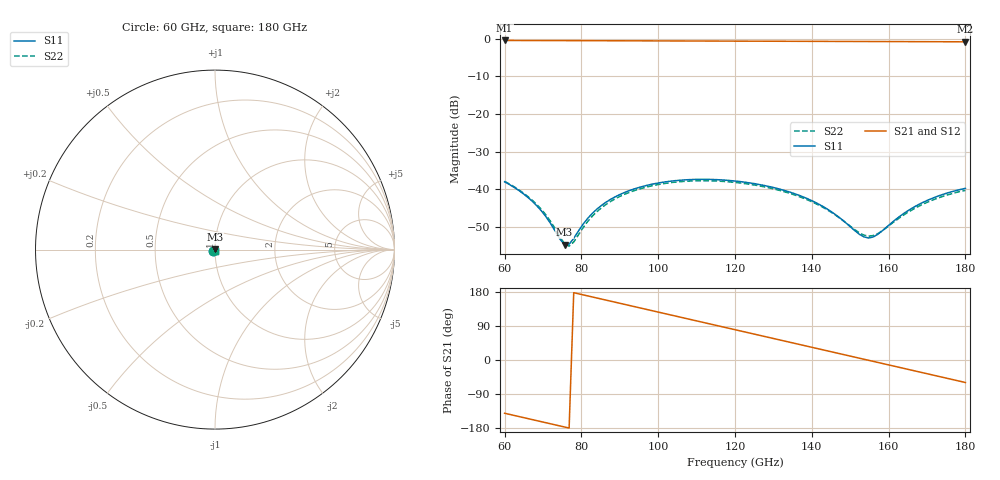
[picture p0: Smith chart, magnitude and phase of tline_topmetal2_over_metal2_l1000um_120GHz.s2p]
#  GHZ S DB R 50
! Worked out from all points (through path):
!   101 points, 60 GHz to 180 GHz, reference 50 ohm
!   highest |S21| = -0.47 dB at 60 GHz (marker M1); lowest = -0.8 dB at 180 GHz (marker M2)
!   group delay of S21, straight-line fit = 6.45 ps
!   lowest |S11| = -54.7 dB at 75.6 GHz (marker M3), VSWR 1.00, Z = 50 + j0.182 ohm
!   |S11| at or under -10 dB: start of sweep to end of sweep
!   |S22| runs from -55.1 to -37.8 dB; largest |S21 - S12| = 1.1e-14
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60  -38.04 -149.8  -0.47 -140.5  -0.47 -140.5  -37.93 -149.8
64.8  -41.15 -166.7  -0.49 -151.7  -0.49 -151.7  -40.96 -166.3
68.4  -44.42 177.9  -0.50 -160.1  -0.50 -160.1  -44.09 178.7
72  -49.15 154.3  -0.51 -168.4  -0.51 -168.4  -48.60 156.9
75.6  -54.75 96.7  -0.52 -176.8  -0.52 -176.8  -54.53 106.5
76.8  -54.62 66.9  -0.52 -179.6  -0.52 -179.6  -55.14 76.9
78  -53.08 42.5  -0.53 177.6  -0.53 177.6  -54.05 49.5
80.4  -49.36 13.6  -0.53 172.0  -0.53 172.0  -50.29 16.1
84  -45.33 -9.0  -0.54 163.7  -0.54 163.7  -46.01 -8.5
88.8  -42.03 -28.8  -0.56 152.5  -0.56 152.5  -42.56 -29.0
93.6  -39.98 -45.2  -0.57 141.3  -0.57 141.3  -40.44 -45.7
100.8  -38.22 -67.7  -0.59 124.6  -0.59 124.6  -38.62 -68.5
110.4  -37.39 -96.2  -0.62 102.3  -0.62 102.3  -37.77 -97.4
120  -37.83 -124.3  -0.65 80.0  -0.65 80.0  -38.20 -125.9
129.6  -39.46 -152.9  -0.68 57.7  -0.68 57.7  -39.82 -155.1
140.4  -43.25 170.6  -0.71 32.6  -0.71 32.6  -43.53 167.5
147.6  -47.88 135.9  -0.73 15.9  -0.73 15.9  -47.92 131.9
153.6  -52.70 77.1  -0.75 2.0  -0.75 2.0  -52.22 75.5
156  -52.69 42.3  -0.76 -3.6  -0.76 -3.6  -52.33 43.4
160.8  -48.92 -8.2  -0.77 -14.8  -0.77 -14.8  -49.15 -6.5
169.2  -43.38 -51.6  -0.80 -34.3  -0.80 -34.3  -43.87 -52.0
180  -39.78 -89.5  -0.83 -59.4  -0.83 -59.4  -40.31 -91.5
